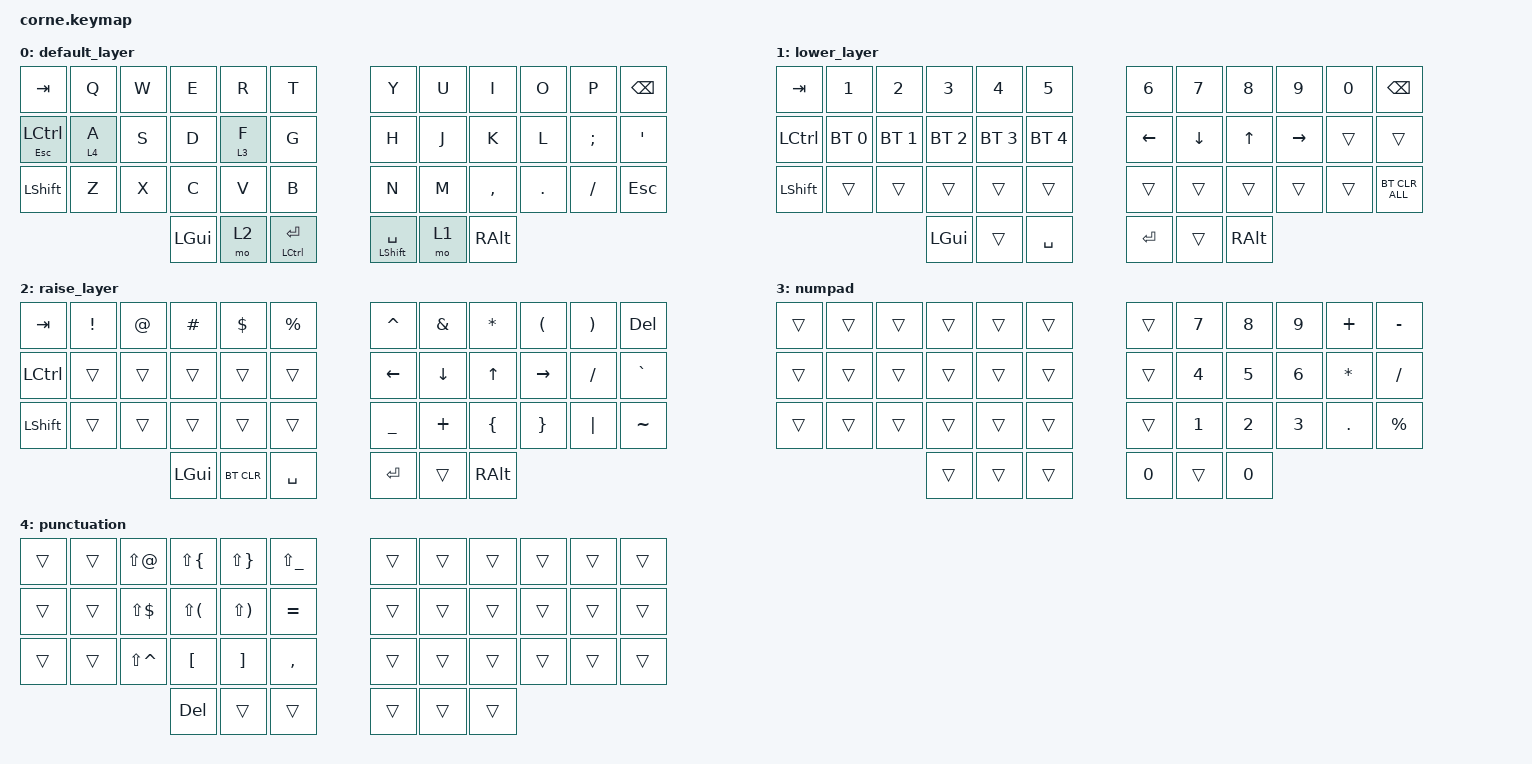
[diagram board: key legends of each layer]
/*
 * Copyright (c) 2020 The ZMK Contributors
 *
 * SPDX-License-Identifier: MIT
 */

#include <behaviors.dtsi>
#include <dt-bindings/zmk/bt.h>
#include <dt-bindings/zmk/keys.h>

/ {
    keymap {
        compatible = "zmk,keymap";

        default_layer {
            // -----------------------------------------------------------------------------------------
            // |  TAB |  Q  |  W  |  E  |  R  |  T  |   |  Y  |  U   |  I  |  O  |  P  | BKSP |
            // | CTRL |  A  |  S  |  D  |  F  |  G  |   |  H  |  J   |  K  |  L  |  ;  |  '   |
            // | SHFT |  Z  |  X  |  C  |  V  |  B  |   |  N  |  M   |  ,  |  .  |  /  | ESC  |
            //                    | GUI | LWR | SPC |   | ENT | RSE  | ALT |

            bindings = <
&kp TAB                  &kp Q    &kp W  &kp E     &kp R    &kp T                     &kp Y                 &kp U  &kp I      &kp O    &kp P     &kp BSPC
&mt ESCAPE LEFT_CONTROL  &lt 4 A  &kp S  &kp D     &lt 3 F  &kp G                     &kp H                 &kp J  &kp K      &kp L    &kp SEMI  &kp SQT
&kp LSHFT                &kp Z    &kp X  &kp C     &kp V    &kp B                     &kp N                 &kp M  &kp COMMA  &kp DOT  &kp FSLH  &kp ESC
                                         &kp LGUI  &mo 2    &mt LEFT_CONTROL ENTER    &mt LEFT_SHIFT SPACE  &mo 1  &kp RALT
            >;
        };

        lower_layer {
            // -----------------------------------------------------------------------------------------
            // |  TAB |  1  |  2  |  3  |  4  |  5  |   |  6  |  7  |  8  |  9  |  0  | BKSP |
            // | BTCLR| BT1 | BT2 | BT3 | BT4 | BT5 |   | LFT | DWN |  UP | RGT |     |      |
            // | SHFT |     |     |     |     |     |   |     |     |     |     |     |      |
            //                    | GUI |     | SPC |   | ENT |     | ALT |

            bindings = <
&kp TAB           &kp N1        &kp N2        &kp N3        &kp N4        &kp N5          &kp N6    &kp N7    &kp N8    &kp N9     &kp N0  &kp BSPC
&kp LEFT_CONTROL  &bt BT_SEL 0  &bt BT_SEL 1  &bt BT_SEL 2  &bt BT_SEL 3  &bt BT_SEL 4    &kp LEFT  &kp DOWN  &kp UP    &kp RIGHT  &trans  &trans
&kp LSHFT         &trans        &trans        &trans        &trans        &trans          &trans    &trans    &trans    &trans     &trans  &bt BT_CLR_ALL
                                              &kp LGUI      &trans        &kp SPACE       &kp RET   &trans    &kp RALT
            >;
        };

        raise_layer {
            // -----------------------------------------------------------------------------------------
            // |  TAB |  !  |  @  |  #  |  $  |  %  |   |  ^  |  &  |  *  |  (  |  )  | BKSP |
            // | CTRL |     |     |     |     |     |   |  -  |  =  |  [  |  ]  |  \  |  `   |
            // | SHFT |     |     |     |     |     |   |  _  |  +  |  {  |  }  | "|" |  ~   |
            //                    | GUI |     | SPC |   | ENT |     | ALT |

            bindings = <
&kp TAB    &kp EXCL  &kp AT  &kp HASH  &kp DLLR    &kp PRCNT    &kp CARET  &kp AMPS  &kp ASTRK     &kp LPAR   &kp RPAR   &kp DELETE
&kp LCTRL  &trans    &trans  &trans    &trans      &trans       &kp LEFT   &kp DOWN  &kp UP_ARROW  &kp RIGHT  &kp SLASH  &kp GRAVE
&kp LSHFT  &trans    &trans  &trans    &trans      &trans       &kp UNDER  &kp PLUS  &kp LBRC      &kp RBRC   &kp PIPE   &kp TILDE
                             &kp LGUI  &bt BT_CLR  &kp SPACE    &kp RET    &trans    &kp RALT
            >;
        };

        numpad {
            bindings = <
&trans  &trans  &trans  &trans  &trans  &trans    &trans  &kp N7        &kp N8        &kp N9        &kp PLUS      &kp MINUS
&trans  &trans  &trans  &trans  &trans  &trans    &trans  &kp NUMBER_4  &kp N5        &kp NUMBER_6  &kp ASTERISK  &kp SLASH
&trans  &trans  &trans  &trans  &trans  &trans    &trans  &kp NUMBER_1  &kp NUMBER_2  &kp NUMBER_3  &kp PERIOD    &kp PERCENT
                        &trans  &trans  &trans    &kp N0  &trans        &kp N0
            >;
        };

        punctuation {
            bindings = <
&trans  &trans  &kp LS(AT)     &kp LS(LBRC)  &kp LS(RBRC)  &kp LS(UNDER)    &trans  &trans  &trans  &trans  &trans  &trans
&trans  &trans  &kp LS(DLLR)   &kp LS(LPAR)  &kp LS(RPAR)  &kp EQUAL        &trans  &trans  &trans  &trans  &trans  &trans
&trans  &trans  &kp LS(CARET)  &kp LBKT      &kp RBKT      &kp COMMA        &trans  &trans  &trans  &trans  &trans  &trans
                               &kp DEL       &trans        &trans           &trans  &trans  &trans
            >;
        };
    };
};
